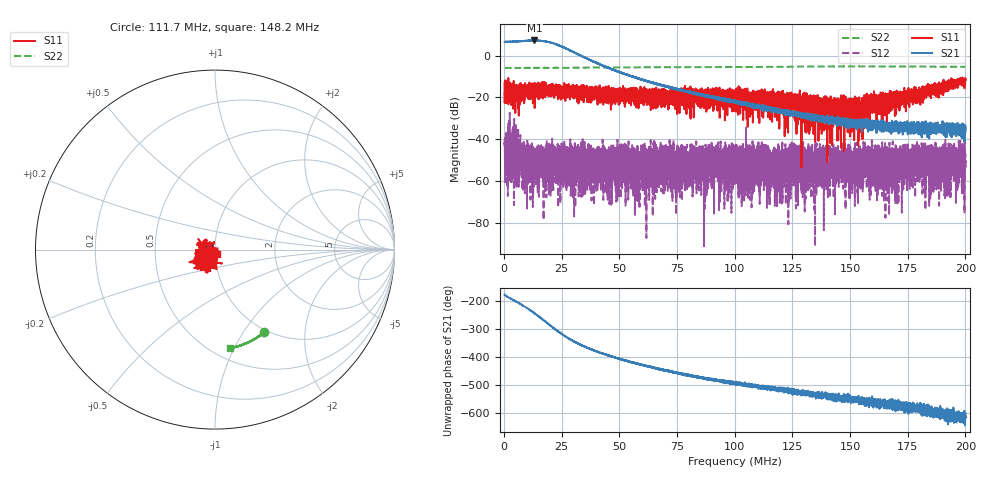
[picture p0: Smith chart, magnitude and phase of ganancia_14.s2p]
# Hz S DB R 50
! CMT, M5065, 19127446, 24.2.4/2
! Date: 11/8/2024 3:53:24 PM
! Data: Format (Calibration Info)
! Freq	S11:dB/Ang(F2)	S21:dB/Ang(F2)	S12:dB/Ang(F2)	S22:dB/Ang(F2)
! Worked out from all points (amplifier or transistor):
!   9000 points, 300 kHz to 200 MHz, reference 50 ohm
!   highest |S21| = 7.3 dB at 13.19 MHz (marker M1)
!   |S21| within 3 dB of that: start of sweep to 25.14 MHz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
!   unconditionally stable (mu >= 1): start of sweep to end of sweep
!   at 33.59 MHz: K = 864.30, MAG = 1.4 dB, |S12| = -67.6 dB
!   at 100.2 MHz: K = 4138.96, MAG = -20.3 dB, |S12| = -59.6 dB
!   at 200 MHz: K = 5622.20, MAG = -33.1 dB, |S12| = -49.8 dB
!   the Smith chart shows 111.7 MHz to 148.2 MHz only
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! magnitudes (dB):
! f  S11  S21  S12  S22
! 300 kHz  -13.1  6.6  -43.2  -5.8
! 5.892 MHz  -17.7  6.8  -52.3  -5.9
! 13.19 MHz  -17.2  7.3  -57.1  -5.8
! 33.59 MHz  -15.3  -0.1  -67.6  -5.7
! 52.32 MHz  -18.4  -8.7  -42.1  -5.6
! 57.78 MHz  -19.5  -10.7  -54.0  -5.6
! 66.87 MHz  -18.3  -13.7  -47.3  -5.5
! 100.2 MHz  -23.3  -21.8  -59.6  -5.4
! 111.3 MHz  -20.8  -24.0  -50.9  -5.4
! 114.9 MHz  -25.6  -25.3  -61.3  -5.4
! 116.9 MHz  -18.2  -25.7  -45.0  -5.4
! 120.2 MHz  -19.0  -26.6  -48.7  -5.3
! 133.4 MHz  -22.6  -29.6  -53.9  -5.2
! 152.4 MHz  -25.0  -33.0  -52.2  -5.1
! 154.5 MHz  -26.8  -31.9  -53.7  -5.1
! 157.2 MHz  -24.2  -31.9  -55.5  -5.1
! 159.5 MHz  -22.1  -33.7  -53.3  -5.1
! 166.7 MHz  -19.8  -33.3  -48.7  -5.2
! 171.5 MHz  -19.9  -36.2  -52.7  -5.2
! 178.7 MHz  -16.3  -34.8  -47.7  -5.2
! 192.7 MHz  -12.4  -34.1  -51.8  -5.3
! 200 MHz  -11.3  -34.9  -49.8  -5.3
